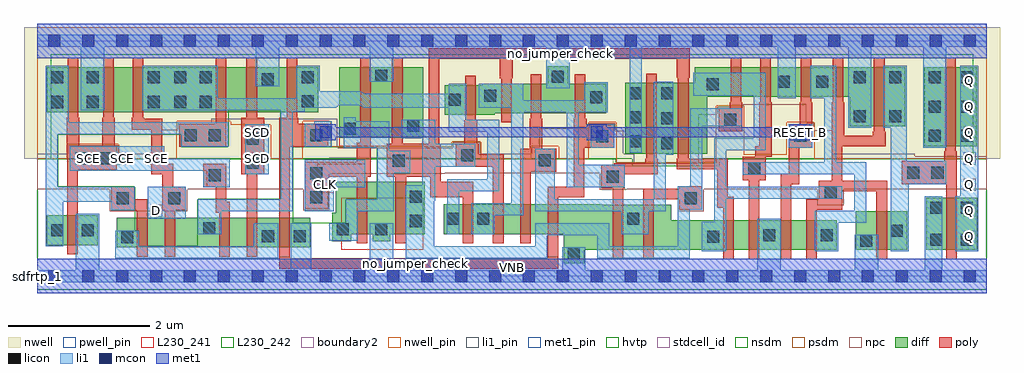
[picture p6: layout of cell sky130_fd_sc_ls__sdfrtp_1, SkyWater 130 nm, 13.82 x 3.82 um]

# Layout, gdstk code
import gdstk
lib = gdstk.Library(unit=1e-6, precision=1e-09)
def R(c, l, rs):  # rectangles x0, y0, x1, y1
    for r in rs: c.add(gdstk.rectangle(r[:2], r[2:], *l))
def A(c, l, x, y, w, h, nx, ny, dx, dy):  # array of equal rectangles
    R(c, l, [(x+i*dx, y+j*dy, x+i*dx+w, y+j*dy+h) for i in range(nx) for j in range(ny)])
def P(c, l, *ps):  # polygons
    for p in ps: c.add(gdstk.Polygon(p, *l))
nwell_pin = (64, 16)
nwell = (64, 20)
diff = (65, 20)
poly = (66, 20)
licon = (66, 44)
li1_pin = (67, 16)
li1 = (67, 20)
mcon = (67, 44)
met1_pin = (68, 16)
met1 = (68, 20)
hvtp = (78, 44)
stdcell_id = (81, 4)
nsdm = (93, 44)
psdm = (94, 20)
npc = (95, 20)
pwell_pin = (122, 16)
L230_241 = (230, 241)
L230_242 = (230, 242)
boundary2 = (236, 0)

sky130_fd_sc_ls__sdfrtp_ = lib.new_cell('sky130_fd_sc_ls__sdfrtp_1')
R(sky130_fd_sc_ls__sdfrtp_, nwell_pin, [(0,3.085,13.44,3.33)])
P(sky130_fd_sc_ls__sdfrtp_, nwell, [(13.63,3.52),(-0.19,3.52),(-0.19,1.66),(4.125,1.66),(4.125,1.675),(5.585,1.675),(5.585,1.66),(8.145,1.66),(8.145,1.555),(9.665,1.555),(9.665,1.66),(13.63,1.66)])
R(sky130_fd_sc_ls__sdfrtp_, diff, [(11.59,0.37,12.315,0.92), (12.585,0.37,13.305,1.11), (1.125,0.405,3.86,0.825), (0.135,0.44,0.855,0.86), (12.56,1.84,13.3,2.96), (4.275,1.96,5.465,2.96), (0.135,2.32,3.975,2.96)])
P(sky130_fd_sc_ls__sdfrtp_, diff, [(5.485,1.335),(4.225,1.335),(4.225,0.9),(4.175,0.9),(4.175,0.49),(4.445,0.49),(4.445,0.595),(4.745,0.595),(4.745,0.49),(4.995,0.49),(4.995,0.595),(5.485,0.595)],
  [(8.055,2.725),(7.52,2.725),(7.52,2.97),(7.225,2.97),(7.225,2.725),(6.3,2.725),(6.3,2.705),(5.765,2.705),(5.765,2.285),(6.475,2.285),(6.475,2.305),(8.055,2.305)],
  [(11.32,0.79),(8.975,0.79),(8.975,1.01),(7.995,1.01),(7.995,1.015),(5.755,1.015),(5.755,0.595),(7.45,0.595),(7.45,0.18),(7.74,0.18),(7.74,0.37),(11.32,0.37)],
  [(12.29,2.96),(9.31,2.96),(9.31,2.735),(8.325,2.735),(8.325,1.735),(9.485,1.735),(9.485,2.54),(11.5,2.54),(11.5,2.12),(12.29,2.12)])
P(sky130_fd_sc_ls__sdfrtp_, poly, [(1.125,1.835),(1.095,1.835),(1.095,2.245),(1.08,2.245),(1.08,3.09),(0.93,3.09),(0.93,2.245),(0.915,2.245),(0.915,1.835),(0.595,1.835),(0.595,2.245),(0.58,2.245),(0.58,3.09),(0.43,3.09),(0.43,2.245),(0.415,2.245),(0.415,1.685),(0.42,1.685),(0.42,0.31),(0.57,0.31),(0.57,1.505),(1.125,1.505)],
  [(1.56,1.085),(1.375,1.085),(1.375,1.265),(1.045,1.265),(1.045,0.935),(1.41,0.935),(1.41,0.275),(1.56,0.275)],
  [(2.1,1.265),(1.92,1.265),(1.92,1.59),(1.765,1.59),(1.765,2.225),(1.515,2.225),(1.515,2.245),(1.5,2.245),(1.5,3.09),(1.35,3.09),(1.35,2.245),(1.335,2.245),(1.335,2.075),(1.615,2.075),(1.615,1.44),(1.77,1.44),(1.77,0.935),(1.8,0.935),(1.8,0.275),(1.95,0.275),(1.95,0.935),(2.1,0.935)],
  [(2.675,3.09),(2.525,3.09),(2.525,2.16),(2.005,2.16),(2.005,1.83),(2.675,1.83)],
  [(2.725,1.05),(2.675,1.05),(2.675,1.59),(2.345,1.59),(2.345,1.26),(2.525,1.26),(2.525,0.9),(2.575,0.9),(2.575,0.275),(2.725,0.275)],
  [(3.215,2.245),(3.11,2.245),(3.11,3.09),(2.96,3.09),(2.96,2.245),(2.885,2.245),(2.885,1.44),(2.965,1.44),(2.965,0.275),(3.115,0.275),(3.115,1.44),(3.215,1.44)],
  [(4.72,3.09),(4.57,3.09),(4.57,1.885),(4.52,1.885),(4.52,1.62),(3.785,1.62),(3.785,0.95),(4.115,0.95),(4.115,1.41),(4.52,1.41),(4.52,0.465),(4.67,0.465),(4.67,1.41),(4.72,1.41)],
  [(6.6,1.725),(6.25,1.725),(6.25,1.875),(6.225,1.875),(6.225,2.21),(6.21,2.21),(6.21,2.835),(6.06,2.835),(6.06,2.21),(6.045,2.21),(6.045,1.875),(5.92,1.875),(5.92,1.545),(6.45,1.545),(6.45,0.465),(6.6,0.465)],
  [(7.35,1.805),(7.15,1.805),(7.15,2.23),(7.135,2.23),(7.135,2.855),(6.985,2.855),(6.985,2.23),(6.97,2.23),(6.97,1.805),(6.835,1.805),(6.835,0.465),(6.985,0.465),(6.985,1.475),(7.35,1.475)],
  [(8.165,2.145),(7.775,2.145),(7.775,2.23),(7.76,2.23),(7.76,2.855),(7.61,2.855),(7.61,2.23),(7.595,2.23),(7.595,1.265),(7.225,1.265),(7.225,0.255),(3.575,0.255),(3.575,1.83),(4.095,1.83),(4.095,1.85),(4.115,1.85),(4.115,2.16),(3.695,2.16),(3.695,2.245),(3.68,2.245),(3.68,3.09),(3.53,3.09),(3.53,2.245),(3.425,2.245),(3.425,0.105),(7.375,0.105),(7.375,1.115),(7.745,1.115),(7.745,1.815),(8.165,1.815)],
  [(8.785,1.66),(8.77,1.66),(8.77,2.865),(8.62,2.865),(8.62,1.66),(8.605,1.66),(8.605,1.595),(8.165,1.595),(8.165,1.575),(7.985,1.575),(7.985,1.245),(8.145,1.245),(8.145,0.24),(8.295,0.24),(8.295,1.245),(8.315,1.245),(8.315,1.445),(8.785,1.445)],
  [(9.415,1.27),(9.085,1.27),(9.085,1.235),(8.575,1.235),(8.575,0.24),(8.725,0.24),(8.725,1.085),(9.085,1.085),(9.085,0.94),(9.415,0.94)],
  [(9.86,1.12),(9.775,1.12),(9.775,1.66),(9.22,1.66),(9.22,2.81),(9.235,2.81),(9.235,3.225),(5.54,3.225),(5.54,1.875),(5.17,1.875),(5.17,3.09),(5.02,3.09),(5.02,1.875),(4.95,1.875),(4.95,1.41),(5.07,1.41),(5.07,0.465),(5.22,0.465),(5.22,1.41),(5.56,1.41),(5.56,1.115),(6.02,1.115),(6.02,0.465),(6.17,0.465),(6.17,1.335),(5.71,1.335),(5.71,1.875),(5.69,1.875),(5.69,3.075),(6.55,3.075),(6.55,2.8),(6.565,2.8),(6.565,2.175),(6.715,2.175),(6.715,2.8),(6.73,2.8),(6.73,3.075),(9.055,3.075),(9.055,2.81),(9.07,2.81),(9.07,1.66),(9.055,1.66),(9.055,1.51),(9.625,1.51),(9.625,0.97),(9.71,0.97),(9.71,0.24),(9.86,0.24)],
  [(9.98,2.465),(9.965,2.465),(9.965,3.09),(9.815,3.09),(9.815,2.465),(9.8,2.465),(9.8,2.38),(9.645,2.38),(9.645,2.05),(9.98,2.05)],
  [(10.4,2.465),(10.385,2.465),(10.385,3.09),(10.235,3.09),(10.235,2.465),(10.22,2.465),(10.22,1.84),(10.165,1.84),(10.165,1.69),(9.985,1.69),(9.985,1.36),(10.07,1.36),(10.07,0.24),(10.22,0.24),(10.22,1.36),(10.315,1.36),(10.315,1.69),(10.4,1.69)],
  [(10.975,2.465),(10.96,2.465),(10.96,3.09),(10.81,3.09),(10.81,2.465),(10.795,2.465),(10.795,2.15),(10.64,2.15),(10.64,1.45),(10.525,1.45),(10.525,0.24),(10.675,0.24),(10.675,1.3),(10.79,1.3),(10.79,1.82),(10.975,1.82)],
  [(12.03,1.35),(11.395,1.35),(11.395,1.84),(12.01,1.84),(12.01,2.045),(11.995,2.045),(11.995,3.09),(11.845,3.09),(11.845,2.045),(11.83,2.045),(11.83,1.99),(11.425,1.99),(11.425,2.465),(11.41,2.465),(11.41,3.09),(11.26,3.09),(11.26,2.465),(11.245,2.465),(11.245,1.35),(11.065,1.35),(11.065,1.09),(10.885,1.09),(10.885,0.24),(11.035,0.24),(11.035,0.94),(11.395,0.94),(11.395,1.2),(11.88,1.2),(11.88,0.24),(12.03,0.24)],
  [(13.02,1.765),(13.005,1.765),(13.005,3.09),(12.855,3.09),(12.855,1.765),(12.84,1.765),(12.84,1.63),(12.24,1.63),(12.24,1.3),(12.87,1.3),(12.87,0.24),(13.02,0.24)])
A(sky130_fd_sc_ls__sdfrtp_, licon, 8.835, 1.795, 0.17, 0.17, 1, 3, 0, 0.355)
A(sky130_fd_sc_ls__sdfrtp_, licon, 8.385, 1.825, 0.17, 0.17, 1, 3, 0, 0.34)
A(sky130_fd_sc_ls__sdfrtp_, licon, 12.62, 1.9, 0.17, 0.17, 1, 3, 0, 0.415)
A(sky130_fd_sc_ls__sdfrtp_, licon, 13.07, 1.9, 0.17, 0.17, 1, 3, 0, 0.415)
R(sky130_fd_sc_ls__sdfrtp_, licon, [(7.51,0.24,7.68,0.41), (11.65,0.415,11.82,0.585), (12.645,0.43,12.815,0.6), (13.075,0.43,13.245,0.6), (1.185,0.465,1.355,0.635), (9.485,0.475,9.655,0.645), (3.18,0.48,3.35,0.65), (3.63,0.48,3.8,0.65), (10.275,0.495,10.445,0.665), (11.09,0.495,11.26,0.665), (12.085,0.56,12.255,0.73), (0.195,0.565,0.365,0.735), (0.625,0.565,0.795,0.735), (4.235,0.58,4.405,0.75), (4.785,0.58,4.955,0.75), (2.35,0.595,2.52,0.765), (5.275,0.695,5.445,0.865), (5.795,0.725,5.965,0.895), (6.225,0.725,6.395,0.895), (8.35,0.725,8.52,0.895), (12.645,0.88,12.815,1.05), (13.075,0.88,13.245,1.05), (1.125,1.015,1.295,1.185), (1.85,1.015,2.02,1.185), (9.165,1.02,9.335,1.19), (3.865,1.03,4.035,1.2), (5.275,1.035,5.445,1.205), (11.145,1.1,11.315,1.27), (8.065,1.325,8.235,1.495), (2.425,1.34,2.595,1.51), (3.865,1.37,4.035,1.54), (12.32,1.38,12.49,1.55), (12.66,1.38,12.83,1.55), (10.065,1.44,10.235,1.61), (2.965,1.52,3.135,1.69), (5.03,1.55,5.2,1.72), (7.1,1.555,7.27,1.725), (0.535,1.585,0.705,1.755), (0.875,1.585,1.045,1.755), (6,1.625,6.17,1.795), (2.965,1.86,3.135,2.03), (7.915,1.895,8.085,2.065), (10.72,1.9,10.89,2.07), (2.085,1.91,2.255,2.08), (2.425,1.91,2.595,2.08), (3.865,1.91,4.035,2.08), (4.335,2,4.505,2.17), (5.235,2.045,5.405,2.215), (9.725,2.13,9.895,2.3), (11.56,2.18,11.73,2.35), (12.06,2.18,12.23,2.35), (0.195,2.38,0.365,2.55), (0.695,2.38,0.865,2.55), (1.565,2.38,1.735,2.55), (1.935,2.38,2.105,2.55), (2.3,2.38,2.47,2.55), (3.745,2.39,3.915,2.56), (5.825,2.41,5.995,2.58), (7.825,2.445,7.995,2.615), (6.33,2.47,6.5,2.64), (9.475,2.63,9.645,2.8), (10.485,2.665,10.655,2.835), (11.025,2.665,11.195,2.835), (3.175,2.705,3.345,2.875), (0.195,2.73,0.365,2.9), (0.695,2.73,0.865,2.9), (1.565,2.73,1.735,2.9), (1.935,2.73,2.105,2.9), (2.3,2.73,2.47,2.9), (3.745,2.73,3.915,2.9), (11.56,2.73,11.73,2.9), (12.06,2.73,12.23,2.9), (7.285,2.74,7.455,2.91), (4.785,2.75,4.955,2.92)])
A(sky130_fd_sc_ls__sdfrtp_, li1_pin, 13.115, 0.47, 0.17, 0.17, 1, 7, 0, 0.37)
A(sky130_fd_sc_ls__sdfrtp_, li1_pin, 0.635, 1.58, 0.17, 0.17, 3, 1, 0.48, 0)
R(sky130_fd_sc_ls__sdfrtp_, li1_pin, [(1.595,0.84,1.765,1.01), (3.995,1.21,4.165,1.38), (3.035,1.58,3.205,1.75), (3.035,1.95,3.205,2.12)])
R(sky130_fd_sc_ls__sdfrtp_, li1, [(1.565,0.81,2.1,1.265), (2.945,1.44,3.275,2.15), (7.835,1.815,8.165,2.15), (10.64,1.82,10.97,2.15)])
P(sky130_fd_sc_ls__sdfrtp_, li1, [(2.705,2.175),(0.445,2.175),(0.445,2.98),(0.115,2.98),(0.115,0.42),(0.365,0.42),(0.365,1.05),(1.045,1.05),(1.045,0.935),(1.375,0.935),(1.375,1.265),(0.285,1.265),(0.285,2.005),(2.035,2.005),(2.035,1.83),(2.705,1.83)],
  [(2.725,1.66),(1.795,1.66),(1.795,1.835),(0.455,1.835),(0.455,1.49),(2.345,1.49),(2.345,1.26),(2.725,1.26)],
  [(3.41,0.75),(3.06,0.75),(3.06,0.425),(1.435,0.425),(1.435,0.64),(1.105,0.64),(1.105,0.255),(3.41,0.255)],
  [(4.165,2.19),(3.92,2.19),(3.92,2.16),(3.785,2.16),(3.785,1.83),(4.165,1.83)],
  [(4.64,1.65),(3.785,1.65),(3.785,0.92),(4.195,0.92),(4.195,1.26),(4.64,1.26)],
  [(5.28,1.775),(4.98,1.775),(4.98,2.195),(4.505,2.195),(4.505,2.25),(4.335,2.25),(4.335,1.82),(4.81,1.82),(4.81,1.09),(4.365,1.09),(4.365,0.75),(4.135,0.75),(4.135,0.5),(4.535,0.5),(4.535,0.92),(5.045,0.92),(5.045,1.455),(5.28,1.455)],
  [(6.54,2.215),(6.075,2.215),(6.075,2.725),(5.825,2.725),(5.825,2.58),(4.645,2.58),(4.645,2.585),(4.63,2.585),(4.63,2.59),(4.61,2.59),(4.61,2.6),(4.58,2.6),(4.58,2.62),(3.995,2.62),(3.995,2.98),(3.665,2.98),(3.665,2.515),(2.555,2.515),(2.555,2.98),(1.485,2.98),(1.485,2.345),(3.445,2.345),(3.445,1.09),(2.27,1.09),(2.27,0.595),(2.6,0.595),(2.6,0.92),(3.615,0.92),(3.615,2.33),(3.785,2.33),(3.785,2.385),(4.23,2.385),(4.23,2.4),(4.25,2.4),(4.25,2.42),(4.555,2.42),(4.555,2.415),(4.57,2.415),(4.57,2.41),(4.59,2.41),(4.59,2.4),(4.615,2.4),(4.615,2.385),(5.825,2.385),(5.825,2.045),(6.37,2.045),(6.37,1.37),(5.8,1.37),(5.8,0.995),(5.795,0.995),(5.795,0.595),(5.975,0.595),(5.975,1.2),(6.54,1.2)],
  [(8.315,1.575),(7.665,1.575),(7.665,2.32),(8.075,2.32),(8.075,2.745),(7.745,2.745),(7.745,2.49),(6.88,2.49),(6.88,2.725),(6.25,2.725),(6.25,2.385),(6.71,2.385),(6.71,1.03),(6.145,1.03),(6.145,0.595),(6.47,0.595),(6.47,0.86),(6.88,0.86),(6.88,2.32),(7.495,2.32),(7.495,1.26),(8.315,1.26)],
  [(9.005,2.755),(8.725,2.755),(8.725,1.09),(7.325,1.09),(7.325,1.805),(7.05,1.805),(7.05,0.92),(8.27,0.92),(8.27,0.595),(8.655,0.595),(8.655,0.92),(8.895,0.92),(8.895,1.715),(9.005,1.715)],
  [(9.975,2.38),(9.245,2.38),(9.245,1.27),(9.065,1.27),(9.065,0.425),(8.1,0.425),(8.1,0.75),(7.05,0.75),(7.05,0.425),(5.62,0.425),(5.62,1.07),(5.63,1.07),(5.63,1.545),(6.2,1.545),(6.2,1.875),(5.63,1.875),(5.63,2.215),(5.155,2.215),(5.155,1.955),(5.45,1.955),(5.45,1.285),(5.215,1.285),(5.215,0.255),(7.22,0.255),(7.22,0.58),(7.93,0.58),(7.93,0.255),(9.235,0.255),(9.235,0.94),(9.415,0.94),(9.415,2.125),(9.975,2.125)],
  [(11.395,1.275),(11.065,1.275),(11.065,1.265),(9.755,1.265),(9.755,1.785),(10.315,1.785),(10.315,2.88),(9.29,2.88),(9.29,2.55),(10.145,2.55),(10.145,1.955),(9.585,1.955),(9.585,0.77),(9.405,0.77),(9.405,0.35),(9.755,0.35),(9.755,1.095),(11.395,1.095)],
  [(11.735,1.615),(11.31,1.615),(11.31,2.98),(10.945,2.98),(10.945,2.52),(11.14,2.52),(11.14,1.615),(9.985,1.615),(9.985,1.435),(10.315,1.435),(10.315,1.445),(11.565,1.445),(11.565,0.925),(11.01,0.925),(11.01,0.35),(11.34,0.35),(11.34,0.755),(11.735,0.755)],
  [(12.87,1.63),(12.31,1.63),(12.31,2.98),(11.98,2.98),(11.98,2.1),(12.085,2.1),(12.085,0.35),(12.335,0.35),(12.335,1.3),(12.87,1.3)],
  [(13.325,2.98),(13.07,2.98),(13.07,1.13),(12.995,1.13),(12.995,0.35),(13.325,0.35)],
  [(13.44,3.415),(0,3.415),(0,3.245),(0.615,3.245),(0.615,2.345),(0.945,2.345),(0.945,3.245),(3.095,3.245),(3.095,2.685),(3.425,2.685),(3.425,3.245),(4.705,3.245),(4.705,2.75),(5.035,2.75),(5.035,3.245),(7.205,3.245),(7.205,2.66),(7.54,2.66),(7.54,3.245),(8.385,3.245),(8.385,1.745),(8.555,1.745),(8.555,3.245),(10.485,3.245),(10.485,2.52),(10.735,2.52),(10.735,3.245),(11.48,3.245),(11.48,2.1),(11.81,2.1),(11.81,3.245),(12.54,3.245),(12.54,1.82),(12.87,1.82),(12.87,3.245),(13.44,3.245)],
  [(13.44,0.085),(12.815,0.085),(12.815,1.13),(12.565,1.13),(12.565,0.085),(11.905,0.085),(11.905,0.585),(11.57,0.585),(11.57,0.085),(10.525,0.085),(10.525,0.81),(10.195,0.81),(10.195,0.085),(7.76,0.085),(7.76,0.41),(7.43,0.41),(7.43,0.085),(5.035,0.085),(5.035,0.75),(4.705,0.75),(4.705,0.085),(3.88,0.085),(3.88,0.75),(3.59,0.75),(3.59,0.085),(0.875,0.085),(0.875,0.88),(0.545,0.88),(0.545,0.085),(0,0.085),(0,-0.085),(13.44,-0.085)])
A(sky130_fd_sc_ls__sdfrtp_, mcon, 0.155, -0.085, 0.17, 0.17, 28, 2, 0.48, 3.33)
R(sky130_fd_sc_ls__sdfrtp_, mcon, [(3.995,1.95,4.165,2.12), (7.835,1.95,8.005,2.12), (10.715,1.95,10.885,2.12)])
R(sky130_fd_sc_ls__sdfrtp_, met1_pin, [(0,0,13.44,0.245), (10.715,1.95,10.885,2.12), (0,3.085,13.44,3.33)])
R(sky130_fd_sc_ls__sdfrtp_, met1, [(0,-0.245,13.44,0.245), (0,3.085,13.44,3.575)])
P(sky130_fd_sc_ls__sdfrtp_, met1, [(10.945,2.15),(10.655,2.15),(10.655,2.105),(8.065,2.105),(8.065,2.15),(7.775,2.15),(7.775,2.105),(4.225,2.105),(4.225,2.15),(3.935,2.15),(3.935,1.92),(4.225,1.92),(4.225,1.965),(7.775,1.965),(7.775,1.92),(8.065,1.92),(8.065,1.965),(10.655,1.965),(10.655,1.92),(10.945,1.92)])
P(sky130_fd_sc_ls__sdfrtp_, hvtp, [(13.25,3.14),(0.19,3.14),(0.19,1.66),(8.425,1.66),(8.425,1.555),(9.415,1.555),(9.415,1.66),(13.25,1.66)])
R(sky130_fd_sc_ls__sdfrtp_, stdcell_id, [(0,0,13.44,3.33)])
P(sky130_fd_sc_ls__sdfrtp_, nsdm, [(13.44,1.66),(9.615,1.66),(9.615,1.605),(8.195,1.605),(8.195,1.66),(0,1.66),(0,-0.19),(13.44,-0.19)])
P(sky130_fd_sc_ls__sdfrtp_, psdm, [(13.44,3.52),(0,3.52),(0,1.66),(0.425,1.66),(0.425,1.865),(1.155,1.865),(1.155,1.66),(1.975,1.66),(1.975,2.19),(2.735,2.19),(2.735,2.14),(3.305,2.14),(3.305,1.66),(3.755,1.66),(3.755,2.19),(4.145,2.19),(4.145,1.83),(5.87,1.83),(5.87,1.905),(6.28,1.905),(6.28,1.66),(6.99,1.66),(6.99,1.835),(7.38,1.835),(7.38,1.66),(7.805,1.66),(7.805,2.175),(8.195,2.175),(8.195,1.605),(9.615,1.605),(9.615,2.41),(10.005,2.41),(10.005,1.72),(10.61,1.72),(10.61,2.18),(11,2.18),(11,1.66),(13.44,1.66)])
P(sky130_fd_sc_ls__sdfrtp_, npc, [(13.44,1.7),(12.42,1.7),(12.42,1.73),(11.255,1.73),(11.255,2.065),(10.99,2.065),(10.99,2.17),(10.885,2.17),(10.885,2.435),(9.995,2.435),(9.995,2.4),(9.625,2.4),(9.625,2.295),(9.36,2.295),(9.36,1.595),(8.45,1.595),(8.45,1.735),(8.295,1.735),(8.295,2.06),(8.185,2.06),(8.185,2.165),(7.815,2.165),(7.815,2.09),(7.105,2.09),(7.105,1.825),(7,1.825),(7,1.73),(6.27,1.73),(6.27,1.895),(5.88,1.895),(5.88,1.82),(4.245,1.82),(4.245,2.23),(2.46,2.23),(2.46,2.18),(1.985,2.18),(1.985,2.075),(1.75,2.075),(1.75,1.73),(1.145,1.73),(1.145,1.855),(0.435,1.855),(0.435,1.73),(0,1.73),(0,1.23),(1.025,1.23),(1.025,0.915),(2.12,0.915),(2.12,1.23),(3.765,1.23),(3.765,0.93),(4.135,0.93),(4.135,1.45),(5.77,1.45),(5.77,1.455),(7.965,1.455),(7.965,1.225),(8.335,1.225),(8.335,1.23),(9.065,1.23),(9.065,0.92),(9.435,0.92),(9.435,1.23),(11.045,1.23),(11.045,1),(11.415,1),(11.415,1.23),(13.44,1.23)])
R(sky130_fd_sc_ls__sdfrtp_, pwell_pin, [(0,0,13.44,0.245)])
R(sky130_fd_sc_ls__sdfrtp_, L230_241, [(4.305,0.37,5.46,1.11), (1.565,0.81,2.1,1.265), (2.945,1.44,3.275,2.15), (4.275,1.84,5.465,2.96)])
P(sky130_fd_sc_ls__sdfrtp_, L230_241, [(2.725,1.66),(1.795,1.66),(1.795,1.835),(0.455,1.835),(0.455,1.49),(2.395,1.49),(2.395,1.26),(2.725,1.26)],
  [(4.64,1.59),(3.965,1.59),(3.965,1.18),(4.195,1.18),(4.195,1.26),(4.64,1.26)])
P(sky130_fd_sc_ls__sdfrtp_, L230_242, [(3.445,2.345),(2.705,2.345),(2.705,1.83),(2.035,1.83),(2.035,2.005),(0.285,2.005),(0.285,1.265),(1.375,1.265),(1.375,0.64),(1.435,0.64),(1.435,0.425),(2.27,0.425),(2.27,1.09),(3.445,1.09)],
  [(4.81,1.82),(4.335,1.82),(4.335,1.83),(3.615,1.83),(3.615,0.75),(4.365,0.75),(4.365,1.09),(4.81,1.09)],
  [(7.375,0.275),(7.225,0.275),(7.225,0.255),(3.575,0.255),(3.575,0.275),(3.425,0.275),(3.425,0.105),(7.375,0.105)])
R(sky130_fd_sc_ls__sdfrtp_, boundary2, [(0,0,13.44,3.33)])
sky130_fd_sc_ls__sdfrtp_.add(gdstk.Label('sdfrtp_1', (0,0), layer=83, texttype=44))
sky130_fd_sc_ls__sdfrtp_.add(gdstk.Label('no_jumper_check', (5.35,0.18), layer=83, texttype=44))
sky130_fd_sc_ls__sdfrtp_.add(gdstk.Label('no_jumper_check', (7.4,3.15), layer=83, texttype=44))
sky130_fd_sc_ls__sdfrtp_.add(gdstk.Label('VNB', (6.72,0.123), layer=64, texttype=59))
sky130_fd_sc_ls__sdfrtp_.add(gdstk.Label('VPB', (6.72,3.208), layer=64, texttype=5))
sky130_fd_sc_ls__sdfrtp_.add(gdstk.Label('RESET_B', (10.8,2.035), layer=68, texttype=5))
sky130_fd_sc_ls__sdfrtp_.add(gdstk.Label('VPWR', (6.72,3.208), layer=68, texttype=5))
sky130_fd_sc_ls__sdfrtp_.add(gdstk.Label('VGND', (6.72,0.123), layer=68, texttype=5))
sky130_fd_sc_ls__sdfrtp_.add(gdstk.Label('Q', (13.2,0.555), layer=67, texttype=5))
sky130_fd_sc_ls__sdfrtp_.add(gdstk.Label('Q', (13.2,0.925), layer=67, texttype=5))
sky130_fd_sc_ls__sdfrtp_.add(gdstk.Label('Q', (13.2,1.295), layer=67, texttype=5))
sky130_fd_sc_ls__sdfrtp_.add(gdstk.Label('Q', (13.2,1.665), layer=67, texttype=5))
sky130_fd_sc_ls__sdfrtp_.add(gdstk.Label('Q', (13.2,2.035), layer=67, texttype=5))
sky130_fd_sc_ls__sdfrtp_.add(gdstk.Label('Q', (13.2,2.405), layer=67, texttype=5))
sky130_fd_sc_ls__sdfrtp_.add(gdstk.Label('Q', (13.2,2.775), layer=67, texttype=5))
sky130_fd_sc_ls__sdfrtp_.add(gdstk.Label('SCE', (0.72,1.665), layer=67, texttype=5))
sky130_fd_sc_ls__sdfrtp_.add(gdstk.Label('SCE', (1.2,1.665), layer=67, texttype=5))
sky130_fd_sc_ls__sdfrtp_.add(gdstk.Label('SCE', (1.68,1.665), layer=67, texttype=5))
sky130_fd_sc_ls__sdfrtp_.add(gdstk.Label('CLK', (4.08,1.295), layer=67, texttype=5))
sky130_fd_sc_ls__sdfrtp_.add(gdstk.Label('SCD', (3.12,1.665), layer=67, texttype=5))
sky130_fd_sc_ls__sdfrtp_.add(gdstk.Label('SCD', (3.12,2.035), layer=67, texttype=5))
sky130_fd_sc_ls__sdfrtp_.add(gdstk.Label('D', (1.68,0.925), layer=67, texttype=5))

lib.write_gds('sky130_fd_sc_ls__sdfrtp_1.gds')
